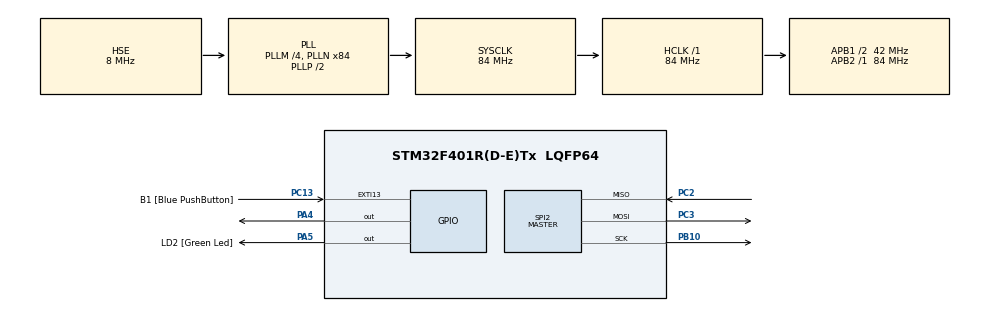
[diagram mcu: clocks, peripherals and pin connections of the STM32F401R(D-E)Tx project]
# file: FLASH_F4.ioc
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Mcu.Family=STM32F4
Mcu.Name=STM32F401R(D-E)Tx
Mcu.Package=LQFP64
NVIC.PriorityGroup=NVIC_PRIORITYGROUP_0
PA13.GPIO_Label=TMS
PA13.Signal=SYS_JTMS-SWDIO
PA14.GPIO_Label=TCK
PA14.Signal=SYS_JTCK-SWCLK
PA2.GPIO_Label=USART_TX
PA2.GPIO_Mode=GPIO_MODE_AF_PP
PA2.GPIO_PuPd=GPIO_NOPULL
PA2.GPIO_Speed=GPIO_SPEED_FREQ_LOW
PA2.Signal=USART2_TX
PA3.GPIO_Label=USART_RX
PA3.GPIO_Mode=GPIO_MODE_AF_PP
PA3.GPIO_PuPd=GPIO_NOPULL
PA3.GPIO_Speed=GPIO_SPEED_FREQ_LOW
PA3.Signal=USART2_RX
PA4.Signal=GPIO_Output
PA5.GPIO_Label=LD2 [Green Led]
PA5.GPIO_Mode=GPIO_MODE_OUTPUT_PP
PA5.GPIO_PuPd=GPIO_NOPULL
PA5.GPIO_Speed=GPIO_SPEED_FREQ_LOW
PA5.Signal=GPIO_Output
PB10.Mode=Full_Duplex_Master
PB10.Signal=SPI2_SCK
PB3.GPIO_Label=SWO
PB3.Signal=SYS_JTDO-SWO
PC13-ANTI_TAMP.GPIO_Label=B1 [Blue PushButton]
PC13-ANTI_TAMP.GPIO_ModeDefaultEXTI=GPIO_MODE_IT_FALLING
PC13-ANTI_TAMP.GPIO_PuPd=GPIO_NOPULL
PC13-ANTI_TAMP.Signal=GPXTI13
PC14-OSC32_IN.Signal=RCC_OSC32_IN
PC15-OSC32_OUT.Signal=RCC_OSC32_OUT
PC2.Mode=Full_Duplex_Master
PC2.Signal=SPI2_MISO
PC3.Mode=Full_Duplex_Master
PC3.Signal=SPI2_MOSI
PH0\ -\ OSC_IN.Mode=HSE-External-Oscillator
PH0\ -\ OSC_IN.Signal=RCC_OSC_IN
PH1\ -\ OSC_OUT.Mode=HSE-External-Oscillator
PH1\ -\ OSC_OUT.Signal=RCC_OSC_OUT
ProjectManager.HeapSize=0x200
ProjectManager.StackSize=0x400
ProjectManager.TargetToolchain=STM32CubeIDE
RCC.48MHZClocksFreq_Value=24000000
RCC.AHBFreq_Value=84000000
RCC.APB1CLKDivider=RCC_HCLK_DIV2
RCC.APB1Freq_Value=42000000
RCC.APB1TimFreq_Value=84000000
RCC.APB2Freq_Value=84000000
RCC.APB2TimFreq_Value=84000000
RCC.CortexFreq_Value=84000000
RCC.HCLKFreq_Value=84000000
RCC.HSE_VALUE=8000000
RCC.HSI_VALUE=16000000
RCC.LSE_VALUE=32768
RCC.PLLM=4
RCC.PLLN=84
RCC.PLLQ=7
RCC.PLLSourceVirtual=RCC_PLLSOURCE_HSE
RCC.SYSCLKFreq_VALUE=84000000
RCC.SYSCLKSource=RCC_SYSCLKSOURCE_PLLCLK
RCC.VCOOutputFreq_Value=168000000
SPI2.BaudRatePrescaler=SPI_BAUDRATEPRESCALER_8
SPI2.Direction=SPI_DIRECTION_2LINES
SPI2.Mode=SPI_MODE_MASTER
SPI2.VirtualType=VM_MASTER
board=NUCLEO-F401RE

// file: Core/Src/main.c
/* USER CODE BEGIN Header */
/**
  ******************************************************************************
  * @file           : main.c
  * @brief          : Main program body
  ******************************************************************************
  * @attention
  *
  * Copyright (c) 2022 STMicroelectronics.
  * All rights reserved.
  *
  * This software is licensed under terms that can be found in the LICENSE file
  * in the root directory of this software component.
  * If no LICENSE file comes with this software, it is provided AS-IS.
  *
  ******************************************************************************
  */
/* USER CODE END Header */
#include "main.h"

/* USER CODE BEGIN Includes */
#include "FLASH_MEM.h"
/* USER CODE END Includes */

/* USER CODE BEGIN PM */
#define MCP3208_START_BIT 0x04
#define MCP3208_MODE_SINGLE 0x02
/* USER CODE END PM */

SPI_HandleTypeDef hspi2;

/* USER CODE BEGIN PV */
uint16_t adcA[9]={0};
/* USER CODE END PV */

void SystemClock_Config(void);
static void MX_GPIO_Init(void);
static void MX_SPI2_Init(void);

/* USER CODE BEGIN 0 */
uint16_t AMCP3208_read_u16(uint8_t channel){
	uint8_t aTxBuffer[3];
	uint8_t aRxBuffer[3];

	aTxBuffer[0] = MCP3208_START_BIT | MCP3208_MODE_SINGLE | ((channel & 0x04) >> 2);
	aTxBuffer[1] = channel << 6;
	aTxBuffer[2] = 0x00;
	HAL_GPIO_WritePin(GPIOA, GPIO_PIN_4,GPIO_PIN_RESET);

	if(HAL_SPI_TransmitReceive(&hspi2,aTxBuffer,aRxBuffer,3,100)!= HAL_OK){
		Error_Handler();
	}
	HAL_GPIO_WritePin(GPIOA, GPIO_PIN_4, GPIO_PIN_SET);

	  // RX
	  uint16_t conv_result = ((uint16_t)(aRxBuffer[1] & 0x0f) << 8) | (uint16_t)aRxBuffer[2];

	  return conv_result;
	}

uint32_t* data = 0;
uint32_t rx[6];
char string[30];
/* USER CODE END 0 */

int main(void)
{

  /* MCU Configuration--------------------------------------------------------*/

  /* Reset of all peripherals, Initializes the Flash interface and the Systick. */
  HAL_Init();

  /* Configure the system clock */
  SystemClock_Config();

  /* Initialize all configured peripherals */
  MX_GPIO_Init();
  MX_SPI2_Init();
  /* USER CODE BEGIN 2 */
  adcA[0] = AMCP3208_read_u16(0);
  *data = adcA[0];
  Flash_Write_Data(0x08020000,data);
  Flash_Read_Data(0x08020000, rx);
  //Convert_To_String(rx,string);

  /* USER CODE END 2 */

  /* Infinite loop */
  while (1)
  {

  }
}

void SystemClock_Config(void)
{
  RCC_OscInitTypeDef RCC_OscInitStruct = {0};
  RCC_ClkInitTypeDef RCC_ClkInitStruct = {0};

  /** Configure the main internal regulator output voltage
  */
  __HAL_RCC_PWR_CLK_ENABLE();
  __HAL_PWR_VOLTAGESCALING_CONFIG(PWR_REGULATOR_VOLTAGE_SCALE2);
  /** Initializes the RCC Oscillators according to the specified parameters
  * in the RCC_OscInitTypeDef structure.
  */
  RCC_OscInitStruct.OscillatorType = RCC_OSCILLATORTYPE_HSE;
  RCC_OscInitStruct.HSEState = RCC_HSE_ON;
  RCC_OscInitStruct.PLL.PLLState = RCC_PLL_ON;
  RCC_OscInitStruct.PLL.PLLSource = RCC_PLLSOURCE_HSE;
  RCC_OscInitStruct.PLL.PLLM = 4;
  RCC_OscInitStruct.PLL.PLLN = 84;
  RCC_OscInitStruct.PLL.PLLP = RCC_PLLP_DIV2;
  RCC_OscInitStruct.PLL.PLLQ = 7;
  if (HAL_RCC_OscConfig(&RCC_OscInitStruct) != HAL_OK)
  {
    Error_Handler();
  }
  /** Initializes the CPU, AHB and APB buses clocks
  */
  RCC_ClkInitStruct.ClockType = RCC_CLOCKTYPE_HCLK|RCC_CLOCKTYPE_SYSCLK
                              |RCC_CLOCKTYPE_PCLK1|RCC_CLOCKTYPE_PCLK2;
  RCC_ClkInitStruct.SYSCLKSource = RCC_SYSCLKSOURCE_PLLCLK;
  RCC_ClkInitStruct.AHBCLKDivider = RCC_SYSCLK_DIV1;
  RCC_ClkInitStruct.APB1CLKDivider = RCC_HCLK_DIV2;
  RCC_ClkInitStruct.APB2CLKDivider = RCC_HCLK_DIV1;

  if (HAL_RCC_ClockConfig(&RCC_ClkInitStruct, FLASH_LATENCY_2) != HAL_OK)
  {
    Error_Handler();
  }
}

static void MX_SPI2_Init(void)
{

  /* SPI2 parameter configuration*/
  hspi2.Instance = SPI2;
  hspi2.Init.Mode = SPI_MODE_MASTER;
  hspi2.Init.Direction = SPI_DIRECTION_2LINES;
  hspi2.Init.DataSize = SPI_DATASIZE_8BIT;
  hspi2.Init.CLKPolarity = SPI_POLARITY_LOW;
  hspi2.Init.CLKPhase = SPI_PHASE_1EDGE;
  hspi2.Init.NSS = SPI_NSS_SOFT;
  hspi2.Init.BaudRatePrescaler = SPI_BAUDRATEPRESCALER_8;
  hspi2.Init.FirstBit = SPI_FIRSTBIT_MSB;
  hspi2.Init.TIMode = SPI_TIMODE_DISABLE;
  hspi2.Init.CRCCalculation = SPI_CRCCALCULATION_DISABLE;
  hspi2.Init.CRCPolynomial = 10;
  if (HAL_SPI_Init(&hspi2) != HAL_OK)
  {
    Error_Handler();
  }

}

static void MX_GPIO_Init(void)
{
  GPIO_InitTypeDef GPIO_InitStruct = {0};

  /* GPIO Ports Clock Enable */
  __HAL_RCC_GPIOC_CLK_ENABLE();
  __HAL_RCC_GPIOH_CLK_ENABLE();
  __HAL_RCC_GPIOA_CLK_ENABLE();
  __HAL_RCC_GPIOB_CLK_ENABLE();

  /*Configure GPIO pin Output Level */
  HAL_GPIO_WritePin(GPIOA, GPIO_PIN_4|LD2_Pin, GPIO_PIN_RESET);

  /*Configure GPIO pin : B1_Pin */
  GPIO_InitStruct.Pin = B1_Pin;
  GPIO_InitStruct.Mode = GPIO_MODE_IT_FALLING;
  GPIO_InitStruct.Pull = GPIO_NOPULL;
  HAL_GPIO_Init(B1_GPIO_Port, &GPIO_InitStruct);

  /*Configure GPIO pins : USART_TX_Pin USART_RX_Pin */
  GPIO_InitStruct.Pin = USART_TX_Pin|USART_RX_Pin;
  GPIO_InitStruct.Mode = GPIO_MODE_AF_PP;
  GPIO_InitStruct.Pull = GPIO_NOPULL;
  GPIO_InitStruct.Speed = GPIO_SPEED_FREQ_LOW;
  GPIO_InitStruct.Alternate = GPIO_AF7_USART2;
  HAL_GPIO_Init(GPIOA, &GPIO_InitStruct);

  /*Configure GPIO pins : PA4 LD2_Pin */
  GPIO_InitStruct.Pin = GPIO_PIN_4|LD2_Pin;
  GPIO_InitStruct.Mode = GPIO_MODE_OUTPUT_PP;
  GPIO_InitStruct.Pull = GPIO_NOPULL;
  GPIO_InitStruct.Speed = GPIO_SPEED_FREQ_LOW;
  HAL_GPIO_Init(GPIOA, &GPIO_InitStruct);

}

void Error_Handler(void)
{
  __disable_irq();
  while (1)
  {
  }
}
